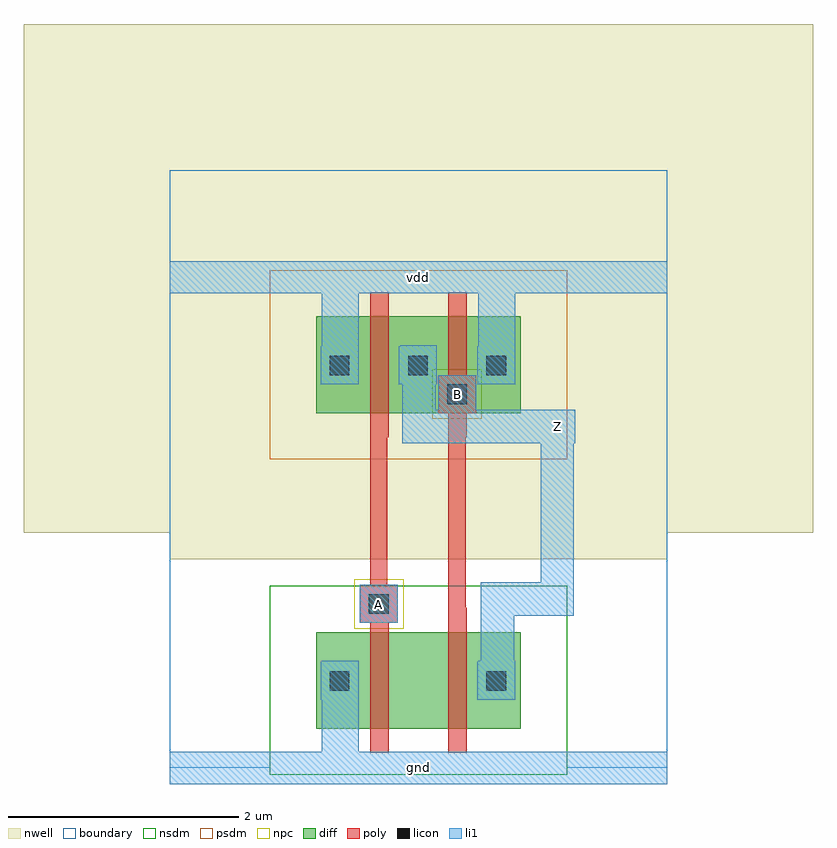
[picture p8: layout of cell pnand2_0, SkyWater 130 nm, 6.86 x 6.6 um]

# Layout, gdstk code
import gdstk
lib = gdstk.Library(unit=1e-6, precision=1e-09)
def R(c, l, rs):  # rectangles x0, y0, x1, y1
    for r in rs: c.add(gdstk.rectangle(r[:2], r[2:], *l))
nwell = (64, 20)
diff = (65, 20)
poly = (66, 20)
licon = (66, 44)
li1 = (67, 20)
nsdm = (93, 44)
psdm = (94, 20)
npc = (95, 20)
boundary = (235, 4)

contact_12 = lib.new_cell('contact_12')
R(contact_12, nwell, [(-1.27,-1.27,1.69,1.69)])
R(contact_12, diff, [(0,0,0.42,0.42)])
R(contact_12, licon, [(0.12,0.12,0.29,0.29)])
R(contact_12, li1, [(0.04,0.04,0.37,0.37)])
R(contact_12, psdm, [(-0.4,-0.4,0.82,0.82)])
R(contact_12, boundary, [(-1.27,-1.27,1.69,1.69)])

pmos_m1_w0_840_sli_dli = lib.new_cell('pmos_m1_w0_840_sli_dli')
R(pmos_m1_w0_840_sli_dli, nwell, [(-1.27,-1.27,2.37,2.11)])
R(pmos_m1_w0_840_sli_dli, diff, [(0,0,1.1,0.84)])
R(pmos_m1_w0_840_sli_dli, poly, [(0.47,-0.21,0.62,1.05), (0.47,-0.21,0.63,1.05)])
R(pmos_m1_w0_840_sli_dli, li1, [(0.05,0.25,0.37,0.59), (0.73,0.25,1.05,0.59)])
R(pmos_m1_w0_840_sli_dli, psdm, [(-0.4,-0.4,1.5,1.24)])
R(pmos_m1_w0_840_sli_dli, boundary, [(-1.27,-1.27,2.37,2.11)])
pmos_m1_w0_840_sli_dli.add(gdstk.Reference(contact_12, (0,0.21)))
pmos_m1_w0_840_sli_dli.add(gdstk.Reference(contact_12, (0.68,0.21)))
pmos_m1_w0_840_sli_dli.add(gdstk.Label('G', (0.55,0.42), layer=66, texttype=20))
pmos_m1_w0_840_sli_dli.add(gdstk.Label('S', (0.21,0.42), layer=67, texttype=20))
pmos_m1_w0_840_sli_dli.add(gdstk.Label('D', (0.89,0.42), layer=67, texttype=20))

contact_11 = lib.new_cell('contact_11')
R(contact_11, diff, [(0,0,0.42,0.42)])
R(contact_11, licon, [(0.12,0.12,0.29,0.29)])
R(contact_11, li1, [(0.04,0.04,0.37,0.37)])
R(contact_11, nsdm, [(-0.4,-0.4,0.82,0.82)])
R(contact_11, boundary, [(-0.4,-0.4,0.82,0.82)])

nmos_m1_w0_840_sli_dacti = lib.new_cell('nmos_m1_w0_840_sli_dactive')
R(nmos_m1_w0_840_sli_dacti, diff, [(0,0,1.1,0.84), (0.68,0.21,1.1,0.63)])
R(nmos_m1_w0_840_sli_dacti, poly, [(0.47,-0.21,0.62,1.05), (0.47,-0.21,0.63,1.05)])
R(nmos_m1_w0_840_sli_dacti, li1, [(0.05,0.25,0.37,0.59)])
R(nmos_m1_w0_840_sli_dacti, nsdm, [(-0.4,-0.4,1.5,1.24)])
R(nmos_m1_w0_840_sli_dacti, boundary, [(-0.4,-0.4,1.5,1.24)])
nmos_m1_w0_840_sli_dacti.add(gdstk.Reference(contact_11, (0,0.21)))
nmos_m1_w0_840_sli_dacti.add(gdstk.Label('G', (0.55,0.42), layer=66, texttype=20))
nmos_m1_w0_840_sli_dacti.add(gdstk.Label('S', (0.21,0.42), layer=67, texttype=20))
nmos_m1_w0_840_sli_dacti.add(gdstk.Label('D', (0.89,0.42), layer=65, texttype=20))

nmos_m1_w0_840_sactive_d = lib.new_cell('nmos_m1_w0_840_sactive_dli')
R(nmos_m1_w0_840_sactive_d, diff, [(0,0,1.1,0.84), (0,0.21,0.42,0.63)])
R(nmos_m1_w0_840_sactive_d, poly, [(0.47,-0.21,0.62,1.05), (0.47,-0.21,0.63,1.05)])
R(nmos_m1_w0_840_sactive_d, li1, [(0.73,0.25,1.05,0.59)])
R(nmos_m1_w0_840_sactive_d, nsdm, [(-0.4,-0.4,1.5,1.24)])
R(nmos_m1_w0_840_sactive_d, boundary, [(-0.4,-0.4,1.5,1.24)])
nmos_m1_w0_840_sactive_d.add(gdstk.Reference(contact_11, (0.68,0.21)))
nmos_m1_w0_840_sactive_d.add(gdstk.Label('G', (0.55,0.42), layer=66, texttype=20))
nmos_m1_w0_840_sactive_d.add(gdstk.Label('S', (0.21,0.42), layer=65, texttype=20))
nmos_m1_w0_840_sactive_d.add(gdstk.Label('D', (0.89,0.42), layer=67, texttype=20))

contact_15 = lib.new_cell('contact_15')
R(contact_15, poly, [(0,0,0.33,0.33)])
R(contact_15, licon, [(0.08,0.08,0.25,0.25)])
R(contact_15, li1, [(0,0,0.33,0.33)])
R(contact_15, npc, [(-0.05,-0.05,0.38,0.38)])
R(contact_15, boundary, [(-0.05,-0.05,0.38,0.38)])

pnand2_0 = lib.new_cell('pnand2_0')
R(pnand2_0, nwell, [(-1.27,2.04,5.59,6.46)])
R(pnand2_0, poly, [(1.74,1.26,1.82,1.59), (1.74,1.39,1.89,2.87), (2.42,1.39,2.57,2.87), (2.42,3.08,2.5,3.41)])
R(pnand2_0, li1, [(0,-0.14,4.32,0.14), (1.32,-0.14,1.64,0.59), (2.7,0.93,2.99,1.46), (1.65,1.26,1.98,1.58), (2.7,1.32,2.99,1.61), (2.84,1.32,3.37,1.61), (3.22,1.32,3.51,1.61), (3.22,1.46,3.51,2.96), (2.02,2.82,2.31,3.11), (2.16,2.82,3.37,3.11), (3.22,2.82,3.52,3.11), (2.02,2.96,2.31,3.33), (2.33,3.08,2.66,3.4), (1.32,3.33,1.64,4.4), (2.68,3.33,3,4.4), (0,4.12,4.32,4.4)])
R(pnand2_0, boundary, [(0,0,4.32,4.26), (0,0,4.32,4.26)])
pnand2_0.add(gdstk.Reference(pmos_m1_w0_840_sli_dli, (1.27,3.08)))
pnand2_0.add(gdstk.Reference(pmos_m1_w0_840_sli_dli, (1.95,3.08)))
pnand2_0.add(gdstk.Reference(nmos_m1_w0_840_sli_dacti, (1.27,0.34)))
pnand2_0.add(gdstk.Reference(nmos_m1_w0_840_sactive_d, (1.95,0.34)))
pnand2_0.add(gdstk.Reference(contact_15, (1.65,1.26)))
pnand2_0.add(gdstk.Reference(contact_15, (2.33,3.08)))
pnand2_0.add(gdstk.Label('Z', (3.37,2.965), layer=67, texttype=20))
pnand2_0.add(gdstk.Label('gnd', (2.16,0), layer=67, texttype=20))
pnand2_0.add(gdstk.Label('vdd', (2.16,4.26), layer=67, texttype=20))
pnand2_0.add(gdstk.Label('A', (1.815,1.42), layer=67, texttype=20))
pnand2_0.add(gdstk.Label('B', (2.495,3.24), layer=67, texttype=20))

lib.write_gds('pnand2_0.gds')
